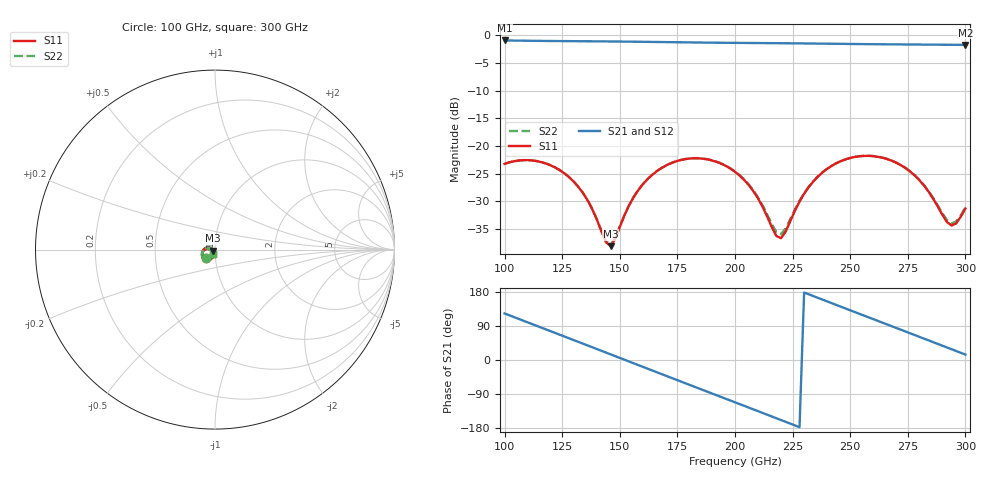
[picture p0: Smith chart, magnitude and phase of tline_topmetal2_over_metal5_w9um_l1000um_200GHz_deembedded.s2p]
! Created with skrf 2.2.0 (http://scikit-rf.org).
# GHz S DB R 50.0
! Port[1] = P1
! Port[2] = P2
!freq dBS11 angS11 dBS21 angS21 dBS12 angS12 dBS22 angS22
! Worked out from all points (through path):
!   101 points, 100 GHz to 300 GHz, reference 50 ohm
!   highest |S21| = -0.92 dB at 100 GHz (marker M1); lowest = -1.7 dB at 300 GHz (marker M2)
!   group delay of S21, straight-line fit = 6.51 ps
!   lowest |S11| = -38.1 dB at 146 GHz (marker M3), VSWR 1.03, Z = 48.9 - j0.634 ohm
!   |S11| at or under -10 dB: start of sweep to end of sweep
!   |S22| runs from -37.9 to -21.8 dB; largest |S21 - S12| = 1e-13
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100  -23.23 -134.1  -0.92 122.8  -0.92 122.8  -23.22 -134.1
108  -22.56 -151.0  -0.96 104.0  -0.96 104.0  -22.55 -150.8
116  -22.92 -167.6  -1.00 85.3  -1.00 85.3  -22.90 -167.3
126  -24.96 173.2  -1.04 61.9  -1.04 61.9  -24.93 173.8
134  -28.49 162.2  -1.06 43.1  -1.06 43.1  -28.45 162.9
144  -37.41 -172.3  -1.10 19.6  -1.10 19.6  -37.21 -171.6
146  -38.11 -148.6  -1.10 14.9  -1.10 14.9  -37.89 -148.4
156  -29.25 -106.6  -1.14 -8.6  -1.14 -8.6  -29.22 -106.6
168  -24.01 -122.8  -1.21 -36.8  -1.21 -36.8  -23.98 -122.4
184  -22.22 -153.5  -1.29 -74.3  -1.29 -74.3  -22.19 -152.7
192  -22.87 -168.9  -1.33 -93.0  -1.33 -93.0  -22.82 -167.8
200  -24.66 177.2  -1.36 -111.7  -1.36 -111.7  -24.59 178.5
208  -28.18 167.7  -1.38 -130.4  -1.38 -130.4  -28.04 169.6
218  -36.29 -163.8  -1.42 -153.8  -1.42 -153.8  -35.59 -162.4
220  -36.66 -142.7  -1.42 -158.5  -1.42 -158.5  -35.93 -143.3
234  -26.41 -107.5  -1.48 168.7  -1.48 168.7  -26.35 -108.3
242  -23.58 -119.0  -1.52 149.9  -1.52 149.9  -23.55 -119.4
252  -21.98 -136.8  -1.56 126.5  -1.56 126.5  -21.96 -136.8
268  -22.65 -165.8  -1.63 89.2  -1.63 89.2  -22.62 -165.2
280  -26.17 177.7  -1.66 61.2  -1.66 61.2  -26.10 178.7
294  -34.38 -146.8  -1.70 28.4  -1.70 28.4  -34.00 -146.6
300  -31.30 -111.1  -1.73 14.3  -1.73 14.3  -31.13 -112.0
